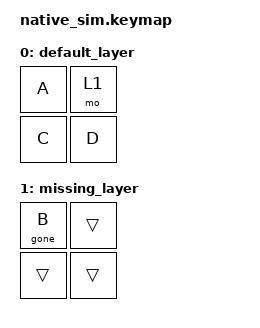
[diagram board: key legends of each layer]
#include <dt-bindings/zmk/keys.h>
#include <behaviors.dtsi>
#include <dt-bindings/zmk/kscan_mock.h>

/ {
    behaviors {
        // Disabled, so no device exists: a binding to it has no behavior at runtime.
        gone: gone {
            compatible = "zmk,behavior-key-press";
            #binding-cells = <1>;
            status = "disabled";
        };
    };

    keymap {
        compatible = "zmk,keymap";

        default_layer {
            bindings = <
                &kp A &mo 1
                &kp C &kp D>;
        };

        missing_layer {
            bindings = <
                &gone B &trans
                &trans &trans>;
        };
    };
};

&kscan {
    events = <
    ZMK_MOCK_PRESS(0,1,10)
    ZMK_MOCK_PRESS(0,0,10)
    ZMK_MOCK_RELEASE(0,0,10)
    ZMK_MOCK_RELEASE(0,1,10)
    >;
};
